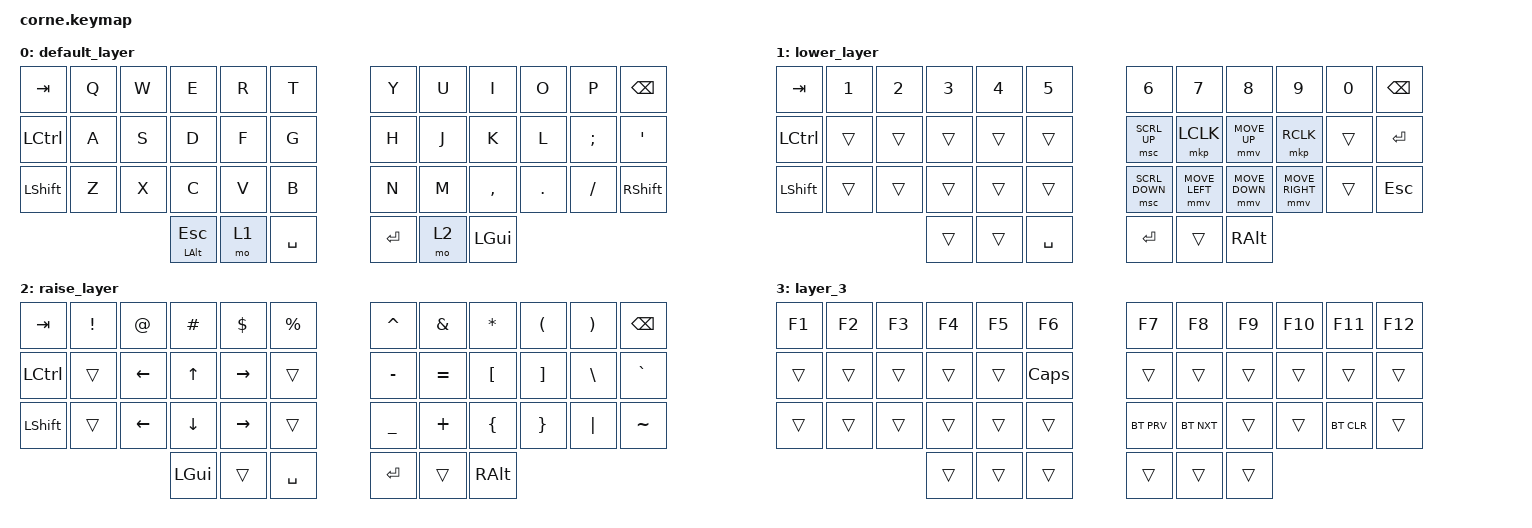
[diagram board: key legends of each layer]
/*
 * Copyright (c) 2020 The ZMK Contributors
 *
 * SPDX-License-Identifier: MIT
 */

#include <behaviors.dtsi>
#include <dt-bindings/zmk/bt.h>
#include <dt-bindings/zmk/keys.h>
#include <dt-bindings/zmk/pointing.h>

/ {
    combos {
        compatible = "zmk,combos";

        layer3 {
            bindings = <&mo 3>;
            key-positions = <37 40>;
        };
    };

    behaviors {
        // Esc on tap, Left Alt on hold — but ONLY when combined with Tab.
        // Any other key pressed while holding behaves as Esc-then-key,
        // which keeps Vim sequences like <Esc>u working naturally.

        esc_alt: esc_alt {
            compatible = "zmk,behavior-hold-tap";
            label = "ESC_ALT";
            bindings = <&kp>, <&kp>;

            #binding-cells = <2>;
            tapping-term-ms = <200>;
            quick-tap-ms = <125>;
            flavor = "balanced";
            hold-trigger-key-positions = <0>; // Tab only
        };
    };

    keymap {
        compatible = "zmk,keymap";

        default_layer {
            bindings = <
&kp TAB    &kp Q  &kp W  &kp E              &kp R  &kp T        &kp Y    &kp U  &kp I      &kp O    &kp P     &kp BSPC
&kp LCTRL  &kp A  &kp S  &kp D              &kp F  &kp G        &kp H    &kp J  &kp K      &kp L    &kp SEMI  &kp SQT
&kp LSHFT  &kp Z  &kp X  &kp C              &kp V  &kp B        &kp N    &kp M  &kp COMMA  &kp DOT  &kp FSLH  &kp RSHIFT
                         &esc_alt LALT ESC  &mo 1  &kp SPACE    &kp RET  &mo 2  &kp LGUI
            >;
        };

        lower_layer {
            bindings = <
&kp TAB    &kp N1  &kp N2  &kp N3  &kp N4  &kp N5       &kp N6          &kp N7          &kp N8          &kp N9           &kp N0  &kp BSPC
&kp LCTRL  &trans  &trans  &trans  &trans  &trans       &msc SCRL_UP    &mkp LCLK       &mmv MOVE_UP    &mkp RCLK        &trans  &kp RET
&kp LSHFT  &trans  &trans  &trans  &trans  &trans       &msc SCRL_DOWN  &mmv MOVE_LEFT  &mmv MOVE_DOWN  &mmv MOVE_RIGHT  &trans  &kp ESC
                           &trans  &trans  &kp SPACE    &kp RET         &trans          &kp RALT
            >;
        };

        raise_layer {
            bindings = <
&kp TAB    &kp EXCL  &kp AT          &kp HASH        &kp DLLR         &kp PRCNT    &kp CARET  &kp AMPS   &kp ASTRK  &kp LPAR  &kp RPAR  &kp BSPC
&kp LCTRL  &trans    &kp LEFT_ARROW  &kp UP_ARROW    &kp RIGHT_ARROW  &trans       &kp MINUS  &kp EQUAL  &kp LBKT   &kp RBKT  &kp BSLH  &kp GRAVE
&kp LSHFT  &trans    &kp LEFT_ARROW  &kp DOWN_ARROW  &kp RIGHT_ARROW  &trans       &kp UNDER  &kp PLUS   &kp LBRC   &kp RBRC  &kp PIPE  &kp TILDE
                                     &kp LGUI        &trans           &kp SPACE    &kp RET    &trans     &kp RALT
            >;
        };

        layer_3 {
            bindings = <
&kp F1  &kp F2  &kp F3  &kp F4  &kp F5  &kp F6      &kp F7      &kp F8      &kp F9  &kp F10  &kp F11     &kp F12
&trans  &trans  &trans  &trans  &trans  &kp CAPS    &trans      &trans      &trans  &trans   &trans      &trans
&trans  &trans  &trans  &trans  &trans  &trans      &bt BT_PRV  &bt BT_NXT  &trans  &trans   &bt BT_CLR  &trans
                        &trans  &trans  &trans      &trans      &trans      &trans
            >;
        };
    };
};
